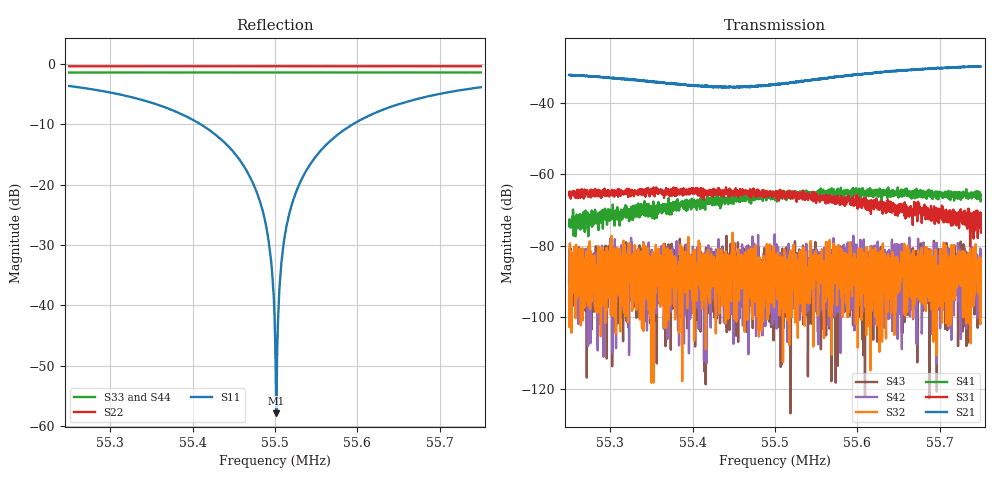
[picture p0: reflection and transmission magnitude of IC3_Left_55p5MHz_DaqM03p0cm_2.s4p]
#  HZ  S  DB  R  50.00
! Rohde & Schwarz Vector Network Analyzer
! Rohde-Schwarz,ZNB8-4Port,1311601044102961,2.82
! Created: UTC 2/13/2019, 9:08:14 AM
! freq[Hz]  db:S11  ang:S11  db:S12  ang:S12  db:S13  ang:S13  db:S14  ang:S14
!  db:S21  ang:S21  db:S22  ang:S22  db:S23  ang:S23  db:S24  ang:S24
!  db:S31  ang:S31  db:S32  ang:S32  db:S33  ang:S33  db:S34  ang:S34
!  db:S41  ang:S41  db:S42  ang:S42  db:S43  ang:S43  db:S44  ang:S44
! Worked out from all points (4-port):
!   2001 points, 55.25 MHz to 55.75 MHz, reference 50 ohm
!   strongest paths, dB at 55.25 MHz, 55.375 MHz, 55.5 MHz, 55.625 MHz, 55.75 MHz:
!     S21: -32.3, -34.7, -34.9, -31.5, -29.9
!     S31: -66.0, -65.0, -65.5, -69.4, -76.3
!     S41: -74.5, -68.7, -66.1, -65.3, -67.2
!     S32: -94.5, -90.0, -91.2, -88.7, -83.4
!     S42: -90.2, -94.0, -86.5, -84.5, -90.1
!     S43: -90.1, -87.3, -87.6, -91.5, -89.8
!   lowest |S11| = -57.9 dB at 55.5015 MHz (marker M1), VSWR 1.00, Z = 49.9 - j0.0808 ohm
!   |S11| at or under -10 dB: 55.41001 MHz to 55.59422 MHz (184.2 kHz wide, 0.332 % of centre)
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5.525e7  -3.62 -152.6  -32.20 70.1  -65.33 -165.6  -72.77 -12.4
         -32.30 69.9  -0.36 94.0  -84.03 -98.8  -96.08 -118.6
         -65.99 -164.9  -94.51 21.4  -1.39 34.9  -93.37 -50.3
         -74.54 -29.4  -90.24 -77.9  -90.12 -86.9  -1.38 28.5
5.545325e7  -15.19 161.0  -35.36 85.9  -64.15 162.2  -67.29 -43.9
            -35.38 86.5  -0.35 90.3  -88.22 -21.5  -96.56 -149.5
            -64.73 162.2  -101.19 55.5  -1.38 32.5  -84.92 81.4
            -67.65 -48.0  -85.64 136.6  -92.15 84.6  -1.37 26.0
5.54885e7  -26.35 152.4  -35.14 94.2  -64.97 145.1  -65.75 -64.1
           -35.23 95.2  -0.35 89.6  -108.18 -27.6  -83.76 -105.1
           -65.34 149.2  -88.88 93.6  -1.38 32.1  -84.32 -92.6
           -66.35 -60.8  -84.41 145.0  -93.59 123.7  -1.38 25.6
5.55015e7  -57.90 -140.5  -34.97 96.6  -65.36 148.1  -66.12 -58.7
           -34.80 97.0  -0.35 89.4  -87.42 59.9  -103.52 -18.8
           -66.78 148.1  -85.79 150.6  -1.38 32.0  -83.62 -155.3
           -65.87 -56.8  -93.98 -125.3  -91.98 20.1  -1.38 25.4
5.5515e7  -26.19 -38.0  -34.57 98.3  -65.39 141.9  -65.16 -68.4
          -34.60 98.1  -0.35 89.2  -82.12 -77.1  -90.56 -38.3
          -64.88 142.1  -88.43 -62.1  -1.38 31.7  -82.83 -128.8
          -66.11 -69.5  -106.93 19.5  -84.26 77.9  -1.38 25.2
5.55505e7  -15.15 -47.3  -33.45 101.7  -66.83 136.6  -65.57 -69.0
           -33.54 102.7  -0.35 88.5  -94.08 -91.7  -83.03 107.8
           -66.92 134.9  -83.12 -137.6  -1.38 31.3  -83.61 -107.0
           -65.45 -73.5  -98.59 -26.0  -89.13 -160.0  -1.37 24.8
5.575e7  -3.83 -92.5  -29.85 90.7  -75.12 124.1  -65.43 -113.2
         -29.89 91.0  -0.35 85.0  -86.34 -103.8  -82.63 85.0
         -76.34 96.8  -83.41 152.6  -1.37 29.0  -89.48 -24.3
         -67.17 -111.7  -90.11 96.1  -89.82 30.4  -1.37 22.3
